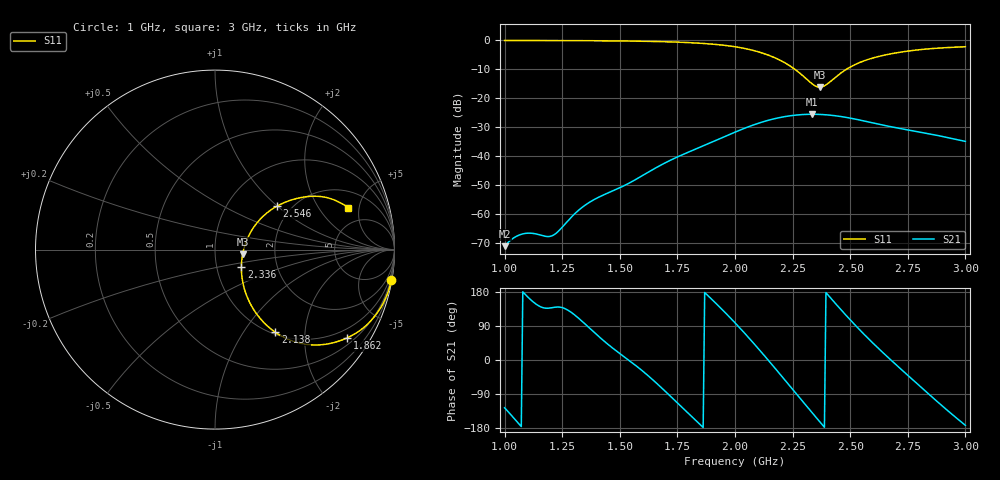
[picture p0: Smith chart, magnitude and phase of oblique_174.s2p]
! TOUCHSTONE file generated by CST MICROWAVE STUDIO
! Date and time: Tue Mar 18 00:02:48 2025
! Project name: oblique.cst
! Parameters = {Tilt=40; Fracture=1; B=12.5; D=160; F=5; Feed=2.85625; L=100; M=10; R=0.384908; S=2; Theta=270; length=57.125; wave=114.25}
! Header version: 2024
! Port assignment regex: !\s*Touchstone port\s*([0-9]+)\s*=\s*(CST MWS port|CST DES external port|CST DES block port)\s*(.+)\s* \(\"(.*)\"\)(\s*mode\s*([0-9]+))?.*
! Touchstone port assignment:
! Touchstone port 1 = CST MWS port 1 ("")
! Touchstone port 2 = CST MWS port 2 ("")
# GHz S DB R 50
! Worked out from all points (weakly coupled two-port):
!   305 points, 1 GHz to 3 GHz, reference 50 ohm
!   highest |S21| = -25.50 dB at 2.336 GHz (marker M1); lowest = -71.0 dB at 1 GHz (marker M2)
!   lowest |S11| = -16.1 dB at 2.368 GHz (marker M3), VSWR 1.37, Z = 68 - j3.67 ohm
!   |S11| at or under -10 dB: 2.26 GHz to 2.483 GHz (222.8 MHz wide, 9.39 % of centre)
!   S12 and S22 are empty: the file has one direction only
!   S11 on the Smith chart (normalised r, x): 1 GHz: 0, -12; 1.862 GHz: 0.69, -3.17; 2.138 GHz: 1.03, -1.41; 2.336 GHz: 1.31, -0.27; 2.546 GHz: 1.69, +1.00; 3 GHz: 3.25, +3.86
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1  -0.02 -9.8  -71.03 -126.1  -200.00 0.0  -200.00 0.0
1.03947  -0.02 -10.3  -68.17 -153.1  -200.00 0.0  -200.00 0.0
1.07895  -0.03 -10.9  -66.79 179.9  -200.00 0.0  -200.00 0.0
1.11842  -0.04 -11.4  -66.58 156.1  -200.00 0.0  -200.00 0.0
1.18421  -0.04 -12.5  -67.70 136.6  -200.00 0.0  -200.00 0.0
1.21053  -0.05 -12.9  -67.28 138.6  -200.00 0.0  -200.00 0.0
1.33553  -0.09 -15.3  -57.70 102.6  -200.00 0.0  -200.00 0.0
1.39474  -0.12 -16.5  -54.68 69.7  -200.00 0.0  -200.00 0.0
1.53289  -0.21 -20.0  -49.59 2.1  -200.00 0.0  -200.00 0.0
1.67105  -0.41 -24.6  -43.35 -67.7  -200.00 0.0  -200.00 0.0
1.86184  -1.05 -33.7  -36.43 -178.0  -200.00 0.0  -200.00 0.0
2  -2.19 -43.1  -31.68 98.2  -200.00 0.0  -200.00 0.0
2.13816  -4.89 -53.9  -27.71 3.9  -200.00 0.0  -200.00 0.0
2.23684  -8.71 -57.0  -26.05 -67.7  -200.00 0.0  -200.00 0.0
2.33553  -15.05 -33.9  -25.50 -139.7  -200.00 0.0  -200.00 0.0
2.36842  -16.15 -9.7  -25.55 -163.4  -200.00 0.0  -200.00 0.0
2.39474  -15.37 9.8  -25.68 177.9  -200.00 0.0  -200.00 0.0
2.46053  -11.21 32.3  -26.29 132.3  -200.00 0.0  -200.00 0.0
2.54605  -7.47 35.0  -27.57 76.6  -200.00 0.0  -200.00 0.0
2.67105  -4.72 30.4  -29.71 3.1  -200.00 0.0  -200.00 0.0
2.82895  -2.99 23.5  -32.02 -83.4  -200.00 0.0  -200.00 0.0
3  -2.18 17.5  -34.87 -172.4  -200.00 0.0  -200.00 0.0
